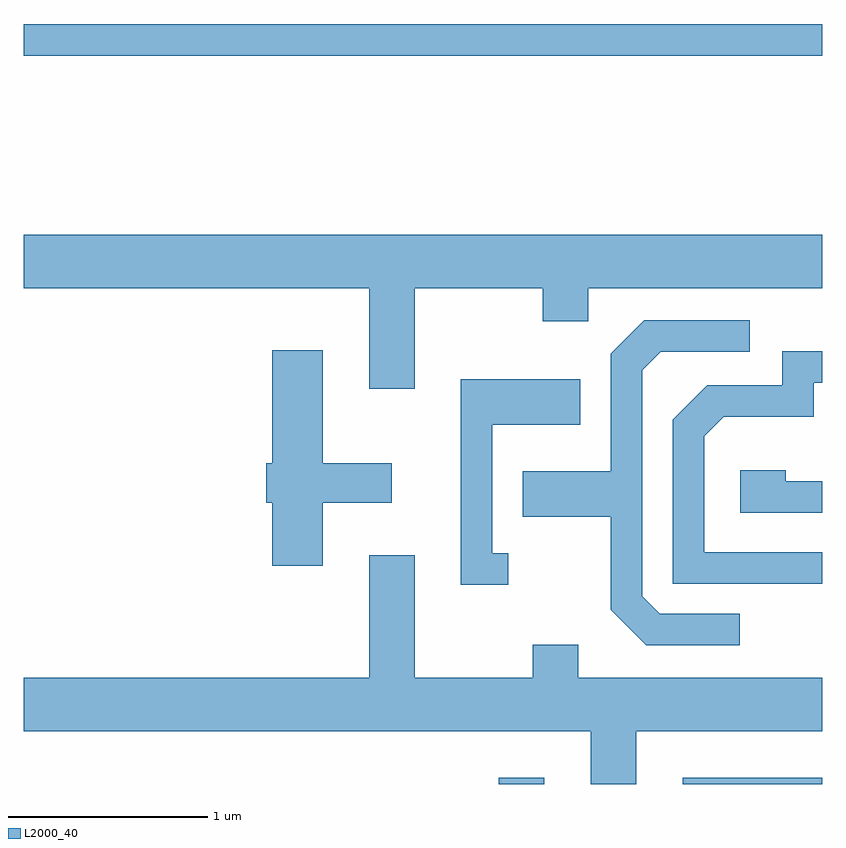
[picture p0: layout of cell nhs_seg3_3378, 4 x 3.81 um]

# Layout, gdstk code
import gdstk
lib = gdstk.Library(unit=1e-6, precision=1e-09)
def R(c, l, rs):  # rectangles x0, y0, x1, y1
    for r in rs: c.add(gdstk.rectangle(r[:2], r[2:], *l))
def P(c, l, *ps):  # polygons
    for p in ps: c.add(gdstk.Polygon(p, *l))
L2000_40 = (2000, 40)

nhs_seg3_3378 = lib.new_cell('nhs_seg3_3378')
R(nhs_seg3_3378, L2000_40, [(285.991,1207.892,286.219,1207.924), (286.911,1207.892,287.611,1207.924), (283.611,1211.541,287.611,1211.699)])
P(nhs_seg3_3378, L2000_40, [(285.569,1210.376),(286.211,1210.376),(286.211,1210.211),(286.439,1210.211),(286.439,1210.376),(287.611,1210.376),(287.611,1210.644),(283.611,1210.644),(283.611,1210.376),(285.341,1210.376),(285.341,1209.871),(285.569,1209.871)],
  [(287.198,1208.744),(286.797,1208.744),(286.709,1208.832),(286.709,1209.964),(286.802,1210.056),(287.248,1210.056),(287.248,1210.214),(286.719,1210.214),(286.551,1210.047),(286.551,1209.459),(286.111,1209.459),(286.111,1209.231),(286.551,1209.231),(286.551,1208.764),(286.729,1208.586),(287.198,1208.586)],
  [(285.109,1209.301),(285.454,1209.301),(285.454,1209.499),(285.109,1209.499),(285.109,1210.064),(284.856,1210.064),(284.856,1209.499),(284.826,1209.499),(284.826,1209.301),(284.856,1209.301),(284.856,1208.986),(285.109,1208.986)],
  [(287.611,1209.054),(287.019,1209.054),(287.019,1209.634),(287.117,1209.731),(287.569,1209.731),(287.569,1209.901),(287.611,1209.901),(287.611,1210.059),(287.411,1210.059),(287.411,1209.889),(287.034,1209.889),(286.861,1209.717),(286.861,1208.896),(287.611,1208.896)],
  [(286.038,1209.049),(285.959,1209.049),(285.959,1209.691),(286.399,1209.691),(286.399,1209.919),(285.801,1209.919),(285.801,1208.891),(286.038,1208.891)],
  [(287.611,1209.409),(287.429,1209.409),(287.429,1209.464),(287.201,1209.464),(287.201,1209.251),(287.611,1209.251)],
  [(286.679,1208.156),(287.611,1208.156),(287.611,1208.424),(286.389,1208.424),(286.389,1208.589),(286.161,1208.589),(286.161,1208.424),(285.569,1208.424),(285.569,1209.039),(285.341,1209.039),(285.341,1208.424),(283.611,1208.424),(283.611,1208.156),(286.451,1208.156),(286.451,1207.892),(286.679,1207.892)])

lib.write_gds('nhs_seg3_3378.gds')
